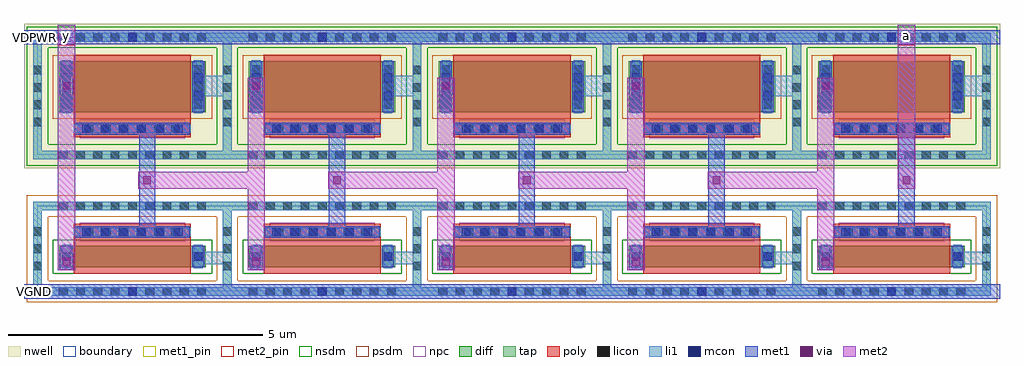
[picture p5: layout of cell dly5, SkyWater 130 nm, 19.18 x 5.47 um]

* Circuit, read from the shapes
.subckt dly5 VDPWR VGND a y
XM1 VGND sky130_fd_pr__nfet_01v8_RCGVBR_8/D y VGND sky130_fd_pr__nfet_01v8 w=0.42 l=2.3
XM2 VGND sky130_fd_pr__nfet_01v8_RCGVBR_7/D sky130_fd_pr__nfet_01v8_RCGVBR_8/D VGND sky130_fd_pr__nfet_01v8 w=0.42 l=2.3
XM3 VGND sky130_fd_pr__nfet_01v8_RCGVBR_6/D sky130_fd_pr__nfet_01v8_RCGVBR_7/D VGND sky130_fd_pr__nfet_01v8 w=0.42 l=2.3
XM4 VGND sky130_fd_pr__nfet_01v8_RCGVBR_5/D sky130_fd_pr__nfet_01v8_RCGVBR_6/D VGND sky130_fd_pr__nfet_01v8 w=0.42 l=2.3
XM5 VGND a sky130_fd_pr__nfet_01v8_RCGVBR_5/D VGND sky130_fd_pr__nfet_01v8 w=0.42 l=2.3
XM6 VDPWR sky130_fd_pr__nfet_01v8_RCGVBR_8/D y VDPWR sky130_fd_pr__pfet_01v8 w=1 l=2.3
XM7 VDPWR sky130_fd_pr__nfet_01v8_RCGVBR_7/D sky130_fd_pr__nfet_01v8_RCGVBR_8/D VDPWR sky130_fd_pr__pfet_01v8 w=1 l=2.3
XM8 VDPWR sky130_fd_pr__nfet_01v8_RCGVBR_6/D sky130_fd_pr__nfet_01v8_RCGVBR_7/D VDPWR sky130_fd_pr__pfet_01v8 w=1 l=2.3
XM9 VDPWR sky130_fd_pr__nfet_01v8_RCGVBR_5/D sky130_fd_pr__nfet_01v8_RCGVBR_6/D VDPWR sky130_fd_pr__pfet_01v8 w=1 l=2.3
XM10 VDPWR a sky130_fd_pr__nfet_01v8_RCGVBR_5/D VDPWR sky130_fd_pr__pfet_01v8 w=1 l=2.3
.ends

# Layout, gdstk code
import gdstk
lib = gdstk.Library(unit=1e-6, precision=1e-09)
def R(c, l, rs):  # rectangles x0, y0, x1, y1
    for r in rs: c.add(gdstk.rectangle(r[:2], r[2:], *l))
def A(c, l, x, y, w, h, nx, ny, dx, dy):  # array of equal rectangles
    R(c, l, [(x+i*dx, y+j*dy, x+i*dx+w, y+j*dy+h) for i in range(nx) for j in range(ny)])
nwell = (64, 20)
diff = (65, 20)
tap = (65, 44)
poly = (66, 20)
licon = (66, 44)
li1 = (67, 20)
mcon = (67, 44)
met1_pin = (68, 16)
met1 = (68, 20)
via = (68, 44)
met2_pin = (69, 16)
met2 = (69, 20)
nsdm = (93, 44)
psdm = (94, 20)
npc = (95, 20)
boundary = (235, 4)

sky130_fd_pr__pfet_01v8_ = lib.new_cell('sky130_fd_pr__pfet_01v8_YCDXTQ')
R(sky130_fd_pr__pfet_01v8_, nwell, [(-2.13,-1.42,2.13,1.42)])
R(sky130_fd_pr__pfet_01v8_, diff, [(-1.44,-0.32,1.44,0.68)])
R(sky130_fd_pr__pfet_01v8_, tap, [(-1.95,-1.24,1.95,-1.07), (-1.95,-1.07,-1.78,1.07), (1.78,-1.07,1.95,1.07), (-1.95,1.07,1.95,1.24)])
R(sky130_fd_pr__pfet_01v8_, poly, [(-1.15,-0.805,1.15,0.81)])
A(sky130_fd_pr__pfet_01v8_, licon, -1.445, -1.24, 0.17, 0.17, 9, 2, 0.34, 2.31)
A(sky130_fd_pr__pfet_01v8_, licon, -0.935, -0.725, 0.17, 0.17, 6, 1, 0.34, 0)
A(sky130_fd_pr__pfet_01v8_, licon, -1.95, -0.595, 0.17, 0.17, 1, 4, 0, 0.34)
A(sky130_fd_pr__pfet_01v8_, licon, 1.78, -0.595, 0.17, 0.17, 1, 4, 0, 0.34)
A(sky130_fd_pr__pfet_01v8_, licon, -1.38, -0.245, 0.17, 0.17, 1, 3, 0, 0.34)
A(sky130_fd_pr__pfet_01v8_, licon, 1.21, -0.245, 0.17, 0.17, 1, 3, 0, 0.34)
R(sky130_fd_pr__pfet_01v8_, li1, [(-1.95,-1.24,1.95,-1.07), (-1.95,-1.07,-1.78,1.07), (1.78,-1.07,1.95,1.07), (-1.15,-0.725,1.15,-0.555), (-1.38,-0.34,-1.21,0.7), (1.21,-0.34,1.38,0.7), (-1.95,1.07,1.95,1.24)])
A(sky130_fd_pr__pfet_01v8_, mcon, -0.985, -0.725, 0.17, 0.17, 6, 1, 0.36, 0)
R(sky130_fd_pr__pfet_01v8_, mcon, [(-1.38,-0.085,-1.21,0.085), (1.21,-0.085,1.38,0.085), (-1.38,0.275,-1.21,0.445), (1.21,0.275,1.38,0.445)])
R(sky130_fd_pr__pfet_01v8_, met1, [(-1.13,-0.755,1.13,-0.525), (-1.41,-0.32,-1.18,0.68), (1.18,-0.32,1.41,0.68)])
R(sky130_fd_pr__pfet_01v8_, nsdm, [(-2.075,-1.365,2.075,-0.945), (-2.075,-0.945,-1.655,0.945), (1.655,-0.945,2.075,0.945), (-2.075,0.945,2.075,1.365)])
R(sky130_fd_pr__pfet_01v8_, psdm, [(-1.565,-0.445,1.565,0.805)])
R(sky130_fd_pr__pfet_01v8_, npc, [(-1.035,-0.825,1.035,-0.455)])
R(sky130_fd_pr__pfet_01v8_, boundary, [(-1.865,-1.155,1.865,1.155)])
sky130_fd_pr__pfet_01v8_.add(gdstk.Label('B', (0,-1.155), layer=67, texttype=5))
sky130_fd_pr__pfet_01v8_.add(gdstk.Label('D', (-1.295,0.18), layer=67, texttype=5))
sky130_fd_pr__pfet_01v8_.add(gdstk.Label('S', (1.295,0.18), layer=67, texttype=5))
sky130_fd_pr__pfet_01v8_.add(gdstk.Label('G', (0,-0.64), layer=67, texttype=5))

sky130_fd_pr__nfet_01v8_ = lib.new_cell('sky130_fd_pr__nfet_01v8_RCGVBR')
R(sky130_fd_pr__nfet_01v8_, diff, [(-1.44,-0.365,1.44,0.055)])
R(sky130_fd_pr__nfet_01v8_, tap, [(-1.95,-0.925,1.95,-0.755), (-1.95,-0.755,-1.78,0.755), (1.78,-0.755,1.95,0.755), (-1.95,0.755,1.95,0.925)])
R(sky130_fd_pr__nfet_01v8_, poly, [(-1.15,-0.495,1.15,0.495)])
A(sky130_fd_pr__nfet_01v8_, licon, -1.445, -0.925, 0.17, 0.17, 9, 2, 0.34, 1.68)
A(sky130_fd_pr__nfet_01v8_, licon, -1.95, -0.425, 0.17, 0.17, 1, 3, 0, 0.34)
A(sky130_fd_pr__nfet_01v8_, licon, 1.78, -0.425, 0.17, 0.17, 1, 3, 0, 0.34)
A(sky130_fd_pr__nfet_01v8_, licon, -0.935, 0.245, 0.17, 0.17, 6, 1, 0.34, 0)
R(sky130_fd_pr__nfet_01v8_, licon, [(-1.38,-0.24,-1.21,-0.07), (1.21,-0.24,1.38,-0.07)])
R(sky130_fd_pr__nfet_01v8_, li1, [(-1.95,-0.925,1.95,-0.755), (-1.95,-0.755,-1.78,0.755), (1.78,-0.755,1.95,0.755), (-1.38,-0.385,-1.21,0.075), (1.21,-0.385,1.38,0.075), (-1.15,0.245,1.15,0.415), (-1.95,0.755,1.95,0.925)])
A(sky130_fd_pr__nfet_01v8_, mcon, -0.985, 0.245, 0.17, 0.17, 6, 1, 0.36, 0)
R(sky130_fd_pr__nfet_01v8_, mcon, [(-1.38,-0.24,-1.21,-0.07), (1.21,-0.24,1.38,-0.07)])
R(sky130_fd_pr__nfet_01v8_, met1, [(-1.41,-0.365,-1.18,0.055), (1.18,-0.365,1.41,0.055), (-1.13,0.215,1.13,0.445)])
R(sky130_fd_pr__nfet_01v8_, nsdm, [(-1.565,-0.49,1.565,0.18)])
R(sky130_fd_pr__nfet_01v8_, psdm, [(-2.075,-1.05,2.075,-0.63), (-2.075,-0.63,-1.655,0.63), (1.655,-0.63,2.075,0.63), (-2.075,0.63,2.075,1.05)])
R(sky130_fd_pr__nfet_01v8_, npc, [(-1.035,0.145,1.035,0.515)])
R(sky130_fd_pr__nfet_01v8_, boundary, [(-1.865,-0.84,1.865,0.84)])
sky130_fd_pr__nfet_01v8_.add(gdstk.Label('B', (0,-0.84), layer=67, texttype=5))
sky130_fd_pr__nfet_01v8_.add(gdstk.Label('D', (-1.295,-0.155), layer=67, texttype=5))
sky130_fd_pr__nfet_01v8_.add(gdstk.Label('S', (1.295,-0.155), layer=67, texttype=5))
sky130_fd_pr__nfet_01v8_.add(gdstk.Label('G', (0,0.33), layer=67, texttype=5))

dly5 = lib.new_cell('dly5')
A(dly5, li1, 2.045, 0.18, 0.17, 0.17, 5, 2, 3.73, 4.995)
A(dly5, li1, 3.43, 0.8, 0.56, 0.25, 5, 1, 3.73, 0)
A(dly5, li1, 3.43, 4.1, 0.56, 0.4, 5, 1, 3.73, 0)
A(dly5, mcon, 2.045, 0.18, 0.17, 0.17, 5, 2, 3.73, 4.995)
R(dly5, met1_pin, [(0,0.12,0.4,0.41), (0,5.12,0.4,5.4)])
A(dly5, met1, 0.705, 0.69, 0.26, 0.32, 5, 2, 3.73, 3.45)
A(dly5, met1, 2.26, 1.32, 0.32, 2.26, 5, 1, 3.73, 0)
R(dly5, met1, [(0,0.12,19.18,0.41), (0,5.12,19.18,5.4)])
A(dly5, via, 0.76, 0.775, 0.15, 0.15, 5, 2, 3.73, 3.45)
A(dly5, via, 2.345, 2.375, 0.15, 0.15, 5, 1, 3.73, 0)
R(dly5, met2_pin, [(0.665,5.1,1.005,5.5), (17.17,5.1,17.51,5.5)])
A(dly5, met2, 4.395, 0.68, 0.34, 1.6, 4, 1, 3.73, 0)
A(dly5, met2, 2.25, 2.28, 2.485, 0.34, 4, 1, 3.73, 0)
A(dly5, met2, 4.395, 2.62, 0.34, 1.85, 4, 1, 3.73, 0)
R(dly5, met2, [(0.665,0.68,1.005,5.5), (17.17,2.28,17.51,5.5)])
dly5.add(gdstk.Reference(sky130_fd_pr__pfet_01v8_, (17.05,4.105)))
dly5.add(gdstk.Reference(sky130_fd_pr__pfet_01v8_, (13.32,4.105)))
dly5.add(gdstk.Reference(sky130_fd_pr__pfet_01v8_, (9.59,4.105)))
dly5.add(gdstk.Reference(sky130_fd_pr__pfet_01v8_, (5.86,4.105)))
dly5.add(gdstk.Reference(sky130_fd_pr__pfet_01v8_, (2.13,4.105)))
dly5.add(gdstk.Reference(sky130_fd_pr__nfet_01v8_, (17.05,1.105)))
dly5.add(gdstk.Reference(sky130_fd_pr__nfet_01v8_, (13.32,1.105)))
dly5.add(gdstk.Reference(sky130_fd_pr__nfet_01v8_, (9.59,1.105)))
dly5.add(gdstk.Reference(sky130_fd_pr__nfet_01v8_, (5.86,1.105)))
dly5.add(gdstk.Reference(sky130_fd_pr__nfet_01v8_, (2.13,1.105)))
dly5.add(gdstk.Label('a', (17.34,5.3), layer=69, texttype=5))
dly5.add(gdstk.Label('y', (0.835,5.3), layer=69, texttype=5))
dly5.add(gdstk.Label('VDPWR', (0.2,5.26), layer=68, texttype=5))
dly5.add(gdstk.Label('VGND', (0.2,0.265), layer=68, texttype=5))

lib.write_gds('dly5.gds')
